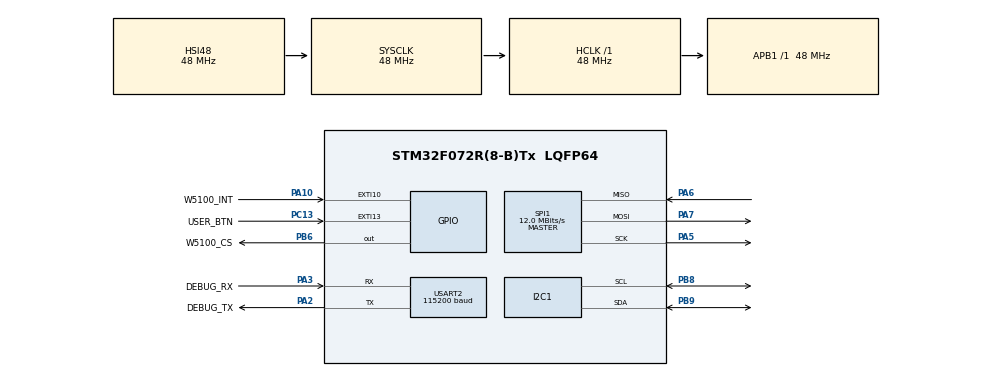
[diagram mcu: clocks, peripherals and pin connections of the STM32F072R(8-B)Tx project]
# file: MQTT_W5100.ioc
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Dma.Request0=USART2_TX
Dma.USART2_TX.0.Direction=DMA_MEMORY_TO_PERIPH
Dma.USART2_TX.0.Instance=DMA1_Channel4
Dma.USART2_TX.0.MemDataAlignment=DMA_MDATAALIGN_BYTE
Dma.USART2_TX.0.MemInc=DMA_MINC_ENABLE
Dma.USART2_TX.0.Mode=DMA_NORMAL
Dma.USART2_TX.0.PeriphDataAlignment=DMA_PDATAALIGN_BYTE
Dma.USART2_TX.0.PeriphInc=DMA_PINC_DISABLE
Dma.USART2_TX.0.Priority=DMA_PRIORITY_LOW
I2C1.I2C_Fall_Time=100
I2C1.I2C_Rise_Time=250
I2C1.Speed=100
I2C1.Timing=0x00301D29
Mcu.Family=STM32F0
Mcu.Name=STM32F072R(8-B)Tx
Mcu.Package=LQFP64
NVIC.DMA1_Channel4_5_6_7_IRQn=true\:0\:0\:true
NVIC.EXTI4_15_IRQn=true\:1\:0\:true
PA10.GPIO_Label=W5100_INT
PA10.GPIO_ModeDefaultEXTI=GPIO_MODE_IT_FALLING
PA10.GPIO_PuPd=GPIO_PULLUP
PA10.Signal=GPXTI10
PA13.Mode=Serial-WireDebug
PA13.Signal=SYS_SWDIO
PA14.Mode=Serial-WireDebug
PA14.Signal=SYS_SWCLK
PA2.GPIO_Label=DEBUG_TX
PA2.GPIO_Mode=GPIO_MODE_AF_PP
PA2.GPIO_PuPd=GPIO_PULLUP
PA2.GPIO_Speed=GPIO_SPEED_HIGH
PA2.Mode=Asynchronous
PA2.Signal=USART2_TX
PA3.GPIO_Label=DEBUG_RX
PA3.GPIO_Mode=GPIO_MODE_AF_PP
PA3.GPIO_PuPd=GPIO_PULLUP
PA3.GPIO_Speed=GPIO_SPEED_HIGH
PA3.Mode=Asynchronous
PA3.Signal=USART2_RX
PA5.Mode=Full_Duplex_Master
PA5.Signal=SPI1_SCK
PA6.GPIO_Mode=GPIO_MODE_AF_PP
PA6.GPIO_PuPd=GPIO_PULLUP
PA6.GPIO_Speed=GPIO_SPEED_HIGH
PA6.Mode=Full_Duplex_Master
PA6.Signal=SPI1_MISO
PA7.GPIO_Mode=GPIO_MODE_AF_PP
PA7.GPIO_PuPd=GPIO_NOPULL
PA7.GPIO_Speed=GPIO_SPEED_HIGH
PA7.Mode=Full_Duplex_Master
PA7.Signal=SPI1_MOSI
PB6.GPIO_FM6=__NULL
PB6.GPIO_Label=W5100_CS
PB6.GPIO_ModeDefaultOutputPP=GPIO_MODE_OUTPUT_PP
PB6.GPIO_PuPd=GPIO_NOPULL
PB6.GPIO_Speed=GPIO_SPEED_HIGH
PB6.Signal=GPIO_Output
PB8.GPIO_FM8=__NULL
PB8.GPIO_Mode=GPIO_MODE_AF_OD
PB8.GPIO_PuPdOD=GPIO_PULLUP
PB8.GPIO_Speed=GPIO_SPEED_HIGH
PB8.Mode=I2C
PB8.Signal=I2C1_SCL
PB9.Mode=I2C
PB9.Signal=I2C1_SDA
PC13.GPIO_Label=USER_BTN
PC13.GPIO_ModeDefaultEXTI=GPIO_MODE_IT_FALLING
PC13.GPIO_PuPd=GPIO_PULLUP
PC13.Signal=GPXTI13
ProjectManager.TargetToolchain=MDK-ARM V5
RCC.AHBFreq_Value=48000000
RCC.APB1Freq_Value=48000000
RCC.APB1TimFreq_Value=48000000
RCC.DATA_CACHE_ENABLE=0
RCC.HCLKFreq_Value=48000000
RCC.INSTRUCTION_CACHE_ENABLE=0
RCC.SYSCLKFreq_VALUE=48000000
RCC.SYSCLKSource=RCC_SYSCLKSOURCE_HSI48
SPI1.BaudRatePrescaler=SPI_BAUDRATEPRESCALER_4
SPI1.CalculateBaudRate=12.0 MBits/s
SPI1.DataSize=SPI_DATASIZE_8BIT
SPI1.Mode=SPI_MODE_MASTER
USART2.BaudRate=115200
USART2.Mode=UART_MODE_TX
USART2.WordLength=UART_WORDLENGTH_8B
board=MQTT_W5100

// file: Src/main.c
/**
  ******************************************************************************
  * File Name          : main.c
  * Description        : Main program body
  ******************************************************************************
  *
  * COPYRIGHT(c) 2015 STMicroelectronics
  *
  * Redistribution and use in source and binary forms, with or without modification,
  * are permitted provided that the following conditions are met:
  *   1. Redistributions of source code must retain the above copyright notice,
  *      this list of conditions and the following disclaimer.
  *   2. Redistributions in binary form must reproduce the above copyright notice,
  *      this list of conditions and the following disclaimer in the documentation
  *      and/or other materials provided with the distribution.
  *   3. Neither the name of STMicroelectronics nor the names of its contributors
  *      may be used to endorse or promote products derived from this software
  *      without specific prior written permission.
  *
  * THIS SOFTWARE IS PROVIDED BY THE COPYRIGHT HOLDERS AND CONTRIBUTORS "AS IS"
  * AND ANY EXPRESS OR IMPLIED WARRANTIES, INCLUDING, BUT NOT LIMITED TO, THE
  * IMPLIED WARRANTIES OF MERCHANTABILITY AND FITNESS FOR A PARTICULAR PURPOSE ARE
  * DISCLAIMED. IN NO EVENT SHALL THE COPYRIGHT HOLDER OR CONTRIBUTORS BE LIABLE
  * FOR ANY DIRECT, INDIRECT, INCIDENTAL, SPECIAL, EXEMPLARY, OR CONSEQUENTIAL
  * DAMAGES (INCLUDING, BUT NOT LIMITED TO, PROCUREMENT OF SUBSTITUTE GOODS OR
  * SERVICES; LOSS OF USE, DATA, OR PROFITS; OR BUSINESS INTERRUPTION) HOWEVER
  * CAUSED AND ON ANY THEORY OF LIABILITY, WHETHER IN CONTRACT, STRICT LIABILITY,
  * OR TORT (INCLUDING NEGLIGENCE OR OTHERWISE) ARISING IN ANY WAY OUT OF THE USE
  * OF THIS SOFTWARE, EVEN IF ADVISED OF THE POSSIBILITY OF SUCH DAMAGE.
  *
  ******************************************************************************
  */

/**
  ******************************************************************************
  * File Name          : main.c
  * Description        : Main function and background process;
	* Author             : Burin Sapsiri <burin@deaware.com>
  ******************************************************************************
	*/
#include "stm32f0xx_hal.h"

/* USER CODE BEGIN Includes */
#define IPADDR0              192
#define IPADDR1              168
#define IPADDR2               10
#define IPADDR3               50

#define NMASK0               255
#define NMASK1               255
#define NMASK2               255
#define NMASK3                 0

#define GW0                    0
#define GW1                    0
#define GW2                    0
#define GW3                    0

#include "wizchip_conf.h"
#include "app.h"
#include "debug.h"
#include "socket.h"
/* USER CODE END Includes */

I2C_HandleTypeDef hi2c1;

SPI_HandleTypeDef hspi1;

UART_HandleTypeDef huart2;
DMA_HandleTypeDef hdma_usart2_tx;

/* USER CODE BEGIN PV */
/* Private variables ---------------------------------------------------------*/
static const int8_t WZN_ERR = -1;
static const uint8_t wzn_memsize[2][4] = {{2, 2, 2, 2}, {2, 2, 2, 2}};
static wiz_NetInfo wzn_netif;
static uint8_t wzn_rx_buf[256];
static volatile uint8_t wzn_interrupted = 0;
/* USER CODE END PV */

void SystemClock_Config(void);
static void MX_GPIO_Init(void);
static void MX_DMA_Init(void);
static void MX_I2C1_Init(void);
static void MX_SPI1_Init(void);
static void MX_USART2_UART_Init(void);

/* USER CODE BEGIN PFP */
/* Private function prototypes -----------------------------------------------*/

/* USER CODE END PFP */

/* USER CODE BEGIN 0 */

/********************************************
 * BEGIN
 * Low-level function for wiznet.
 ********************************************/
void wzn_select(void)
{
	HAL_GPIO_WritePin(GPIOB, GPIO_PIN_6, GPIO_PIN_RESET);
}

void wzn_deselect(void)
{
	HAL_GPIO_WritePin(GPIOB, GPIO_PIN_6, GPIO_PIN_SET);
}

void wzn_write_byte(uint8_t wb)
{
	HAL_SPI_Transmit(&hspi1, &wb, 1, 0xffff);
}

uint8_t wzn_read_byte(void)
{
	uint8_t rd_byte = 0;

	HAL_SPI_Receive(&hspi1, &rd_byte, 1, 0xffff);

	return rd_byte;
}

void wzn_write(uint8_t* pBuf, uint16_t len)
{
	HAL_SPI_Transmit(&hspi1, pBuf, len, 0xffff);
}

void wzn_read(uint8_t* pBuf, uint16_t len)
{
	HAL_SPI_Receive(&hspi1, pBuf, len, 0xffff);
}

/********************************************
 * END
 * Low-level function for wiznet.
 ********************************************/

/* Wiznet low-level config. */
void wzn_config(void)
{
	uint16_t imr = 0;
	uint16_t imr_rd = 0;

	if(ctlwizchip(CW_INIT_WIZCHIP,(void*)wzn_memsize) == WZN_ERR) {
		ERR_PRINT("Initialize chip fail...\r\n");
		while (1);
  }

	HAL_Delay(1000);

	/* Set interrupt mask to S0, S1, S2, S3. */
	imr = IK_SOCK_0 | IK_SOCK_1 | IK_SOCK_2 | IK_SOCK_3;
	if (ctlwizchip(CW_SET_INTRMASK, &imr) == WZN_ERR) {
		ERR_PRINT("Cannot set imr...")
	}

	if (ctlwizchip(CW_GET_INTRMASK, &imr_rd) == WZN_ERR) {
		ERR_PRINT("Cannot set imr...")
	}

	if ((imr & imr_rd) != imr) {
		ERR_PRINT("IMR set unsuccessful...")
	}
}

void wzn_event_handle(void)
{
	uint16_t ir = 0;
	uint8_t sir = 0;
	uint16_t len = 0;

	if (ctlwizchip(CW_GET_INTERRUPT, &ir) == WZN_ERR) {
		ERR_PRINT("Cannot get ir...")
	}

	if (ir & IK_SOCK_0) {
		sir = getSn_IR(APP_SOCKET_NO);

		if ((sir & Sn_IR_CON) > 0) {
			/* Clear Sn_IR_CON flag. */
			setSn_IR(APP_SOCKET_NO, Sn_IR_CON);

			app_connected();
		}

		if ((sir & Sn_IR_DISCON) > 0) {
			/* Clear Sn_IR_DISCON flag. */
			setSn_IR(APP_SOCKET_NO, Sn_IR_DISCON);

			app_disconnected();
		}

		if ((sir & Sn_IR_SENDOK) > 0) {
			/* Clear Sn_IR_SENDOK flag. */
			setSn_IR(APP_SOCKET_NO, Sn_IR_SENDOK);

			app_sent();
		}

		if ((sir & Sn_IR_RECV) > 0) {
			len = getSn_RX_RSR(APP_SOCKET_NO);
			recv(APP_SOCKET_NO, wzn_rx_buf, len);

			/* Clear Sn_IR_RECV flag. */
			setSn_IR(APP_SOCKET_NO, Sn_IR_RECV);

			app_received(wzn_rx_buf, len);
		}
	}
}

/* Ethernet interface config. */
void netif_config(void)
{
	if (ctlnetwork(CN_GET_NETINFO, (void*)&wzn_netif) == WZN_ERR) {
		ERR_PRINT("Get initialized netif fail...\r\n");
		while (1);
	}

	wzn_netif.ip[0] = IPADDR0;
	wzn_netif.ip[1] = IPADDR1;
	wzn_netif.ip[2] = IPADDR2;
	wzn_netif.ip[3] = IPADDR3;

	wzn_netif.sn[0] = NMASK0;
	wzn_netif.sn[1] = NMASK1;
	wzn_netif.sn[2] = NMASK2;
	wzn_netif.sn[3] = NMASK3;

	wzn_netif.gw[0] = GW0;
	wzn_netif.gw[1] = GW1;
	wzn_netif.gw[2] = GW2;
	wzn_netif.gw[3] = GW3;

	if (ctlnetwork(CN_SET_NETINFO, (void*)&wzn_netif) == WZN_ERR) {
		ERR_PRINT("Set initialized netif fail...\r\n");
		while (1);
	}

	if (ctlnetwork(CN_GET_NETINFO, (void*)&wzn_netif) == WZN_ERR) {
		ERR_PRINT("Get initialized netif fail...\r\n");
		while (1);
	}

	DEBUG_PRINT("IP Address : %d.%d.%d.%d", wzn_netif.ip[0], wzn_netif.ip[1], wzn_netif.ip[2], wzn_netif.ip[3])
	DEBUG_PRINT("Netmask : %d.%d.%d.%d", wzn_netif.sn[0], wzn_netif.sn[1], wzn_netif.sn[2], wzn_netif.sn[3])
	DEBUG_PRINT("Gateway : %d.%d.%d.%d", wzn_netif.gw[0], wzn_netif.gw[1], wzn_netif.gw[2], wzn_netif.gw[3])
}

/* USER CODE END 0 */

int main(void)
{

  /* MCU Configuration----------------------------------------------------------*/

  /* Reset of all peripherals, Initializes the Flash interface and the Systick. */
  HAL_Init();

  /* Configure the system clock */
  SystemClock_Config();

  /* Initialize all configured peripherals */
  MX_GPIO_Init();
  MX_DMA_Init();
  MX_I2C1_Init();
  MX_SPI1_Init();
  MX_USART2_UART_Init();

  /* USER CODE BEGIN 2 */

	DEBUG_INIT(&huart2)
	DEBUG_PRINT("==========MQTT over ETH demonstration start==========")

	/* Set initial state of W5100_CS. */
	HAL_GPIO_WritePin(GPIOB, GPIO_PIN_6, GPIO_PIN_SET);

	/* Register select & deselect function for wiznet. */
	reg_wizchip_cs_cbfunc(wzn_select, wzn_deselect);

	/* Register read & write function for wiznet. */
	reg_wizchip_spi_cbfunc(wzn_read_byte, wzn_write_byte);

	/* Register read brust * write brust funtion for wiznet. */
	reg_wizchip_spiburst_cbfunc(wzn_read, wzn_write);

	wzn_config();
	DEBUG_PRINT("Wiznet chip low-level is already config.")

	netif_config();
	DEBUG_PRINT("Ethernet interface already config.")

	app_init();

  /* USER CODE END 2 */

  /* Infinite loop */
  /* USER CODE BEGIN WHILE */
  while (1)
  {
		app_tick();

		if (wzn_interrupted) {
			wzn_interrupted = 0;
			wzn_event_handle();
		}
  /* USER CODE END WHILE */

  }

}

/** System Clock Configuration
*/
void SystemClock_Config(void)
{

  RCC_OscInitTypeDef RCC_OscInitStruct;
  RCC_ClkInitTypeDef RCC_ClkInitStruct;
  RCC_PeriphCLKInitTypeDef PeriphClkInit;

  RCC_OscInitStruct.OscillatorType = RCC_OSCILLATORTYPE_HSI|RCC_OSCILLATORTYPE_HSI48;
  RCC_OscInitStruct.HSIState = RCC_HSI_ON;
  RCC_OscInitStruct.HSI48State = RCC_HSI48_ON;
  RCC_OscInitStruct.HSICalibrationValue = 16;
  RCC_OscInitStruct.PLL.PLLState = RCC_PLL_NONE;
  HAL_RCC_OscConfig(&RCC_OscInitStruct);

  RCC_ClkInitStruct.ClockType = RCC_CLOCKTYPE_SYSCLK;
  RCC_ClkInitStruct.SYSCLKSource = RCC_SYSCLKSOURCE_HSI48;
  RCC_ClkInitStruct.AHBCLKDivider = RCC_SYSCLK_DIV1;
  RCC_ClkInitStruct.APB1CLKDivider = RCC_HCLK_DIV1;
  HAL_RCC_ClockConfig(&RCC_ClkInitStruct, FLASH_LATENCY_1);

  PeriphClkInit.PeriphClockSelection = RCC_PERIPHCLK_USART2|RCC_PERIPHCLK_I2C1;
  PeriphClkInit.Usart2ClockSelection = RCC_USART2CLKSOURCE_PCLK1;
  PeriphClkInit.I2c1ClockSelection = RCC_I2C1CLKSOURCE_HSI;
  HAL_RCCEx_PeriphCLKConfig(&PeriphClkInit);

  HAL_SYSTICK_Config(HAL_RCC_GetHCLKFreq()/1000);

  HAL_SYSTICK_CLKSourceConfig(SYSTICK_CLKSOURCE_HCLK);

}

/* I2C1 init function */
void MX_I2C1_Init(void)
{

  hi2c1.Instance = I2C1;
  hi2c1.Init.Timing = 0x00301D29;
  hi2c1.Init.OwnAddress1 = 0;
  hi2c1.Init.AddressingMode = I2C_ADDRESSINGMODE_7BIT;
  hi2c1.Init.DualAddressMode = I2C_DUALADDRESS_DISABLED;
  hi2c1.Init.OwnAddress2 = 0;
  hi2c1.Init.OwnAddress2Masks = I2C_OA2_NOMASK;
  hi2c1.Init.GeneralCallMode = I2C_GENERALCALL_DISABLED;
  hi2c1.Init.NoStretchMode = I2C_NOSTRETCH_DISABLED;
  HAL_I2C_Init(&hi2c1);

    /**Configure Analogue filter
    */
  HAL_I2CEx_AnalogFilter_Config(&hi2c1, I2C_ANALOGFILTER_ENABLED);

}

/* SPI1 init function */
void MX_SPI1_Init(void)
{

  hspi1.Instance = SPI1;
  hspi1.Init.Mode = SPI_MODE_MASTER;
  hspi1.Init.Direction = SPI_DIRECTION_2LINES;
  hspi1.Init.DataSize = SPI_DATASIZE_8BIT;
  hspi1.Init.CLKPolarity = SPI_POLARITY_LOW;
  hspi1.Init.CLKPhase = SPI_PHASE_1EDGE;
  hspi1.Init.NSS = SPI_NSS_SOFT;
  hspi1.Init.BaudRatePrescaler = SPI_BAUDRATEPRESCALER_4;
  hspi1.Init.FirstBit = SPI_FIRSTBIT_MSB;
  hspi1.Init.TIMode = SPI_TIMODE_DISABLED;
  hspi1.Init.CRCCalculation = SPI_CRCCALCULATION_DISABLED;
  hspi1.Init.CRCPolynomial = 10;
  hspi1.Init.CRCLength = SPI_CRC_LENGTH_DATASIZE;
  hspi1.Init.NSSPMode = SPI_NSS_PULSE_ENABLED;
  HAL_SPI_Init(&hspi1);

}

/* USART2 init function */
void MX_USART2_UART_Init(void)
{

  huart2.Instance = USART2;
  huart2.Init.BaudRate = 115200;
  huart2.Init.WordLength = UART_WORDLENGTH_8B;
  huart2.Init.StopBits = UART_STOPBITS_1;
  huart2.Init.Parity = UART_PARITY_NONE;
  huart2.Init.Mode = UART_MODE_TX;
  huart2.Init.HwFlowCtl = UART_HWCONTROL_NONE;
  huart2.Init.OverSampling = UART_OVERSAMPLING_16;
  huart2.Init.OneBitSampling = UART_ONEBIT_SAMPLING_DISABLED ;
  huart2.AdvancedInit.AdvFeatureInit = UART_ADVFEATURE_NO_INIT;
  HAL_UART_Init(&huart2);

}

void MX_DMA_Init(void)
{
  /* DMA controller clock enable */
  __DMA1_CLK_ENABLE();

  /* DMA interrupt init */
  HAL_NVIC_SetPriority(DMA1_Channel4_5_6_7_IRQn, 0, 0);
  HAL_NVIC_EnableIRQ(DMA1_Channel4_5_6_7_IRQn);

}

/** Configure pins as
        * Analog
        * Input
        * Output
        * EVENT_OUT
        * EXTI
*/
void MX_GPIO_Init(void)
{

  GPIO_InitTypeDef GPIO_InitStruct;

  /* GPIO Ports Clock Enable */
  __GPIOC_CLK_ENABLE();
  __GPIOA_CLK_ENABLE();
  __GPIOB_CLK_ENABLE();

  /*Configure GPIO pin : PC13 */
  GPIO_InitStruct.Pin = GPIO_PIN_13;
  GPIO_InitStruct.Mode = GPIO_MODE_IT_FALLING;
  GPIO_InitStruct.Pull = GPIO_PULLUP;
  HAL_GPIO_Init(GPIOC, &GPIO_InitStruct);

  /*Configure GPIO pin : PA10 */
  GPIO_InitStruct.Pin = GPIO_PIN_10;
  GPIO_InitStruct.Mode = GPIO_MODE_IT_FALLING;
  GPIO_InitStruct.Pull = GPIO_PULLUP;
  HAL_GPIO_Init(GPIOA, &GPIO_InitStruct);

  /*Configure GPIO pin : PB6 */
  GPIO_InitStruct.Pin = GPIO_PIN_6;
  GPIO_InitStruct.Mode = GPIO_MODE_OUTPUT_PP;
  GPIO_InitStruct.Pull = GPIO_NOPULL;
  GPIO_InitStruct.Speed = GPIO_SPEED_HIGH;
  HAL_GPIO_Init(GPIOB, &GPIO_InitStruct);

  /* EXTI interrupt init*/
  HAL_NVIC_SetPriority(EXTI4_15_IRQn, 1, 0);
  HAL_NVIC_EnableIRQ(EXTI4_15_IRQn);

}

/* USER CODE BEGIN 4 */

void HAL_GPIO_EXTI_Callback(uint16_t GPIO_Pin)
{
	if (GPIO_Pin == GPIO_PIN_10) {
		wzn_interrupted = 1;
	}
}

/* USER CODE END 4 */

/************************ (C) COPYRIGHT STMicroelectronics *****END OF FILE****/
